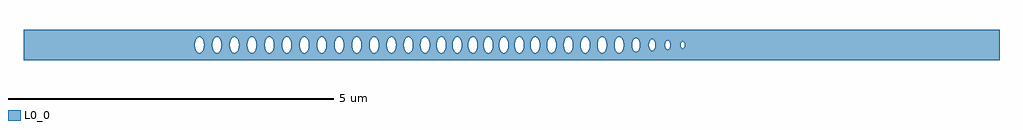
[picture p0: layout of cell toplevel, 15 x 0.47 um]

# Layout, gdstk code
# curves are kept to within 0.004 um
import gdstk
lib = gdstk.Library(unit=1e-6, precision=1e-09)
def P(c, l, *ps):  # polygons
    for p in ps: c.add(gdstk.Polygon(p, *l))
L0_0 = (0, 0)

toplevel = lib.new_cell('toplevel')
P(toplevel, L0_0, [(-4.313,-0.235),(-4.313,-0.079),(-4.329,-0.008),(-4.327,0.031),(-4.313,0.078),(-4.313,0.235),(-7.5,0.235),(-7.5,-0.008),(-4.866,-0.008),(-4.864,0.031),(-4.85,0.079),(-4.829,0.109),(-4.8,0.124),(-4.769,0.115),(-4.744,0.085),(-4.728,0.038),(-4.725,-0.016),(-4.597,-0.016),(-4.594,0.038),(-4.584,0.073),(-4.561,0.109),(-4.531,0.124),(-4.505,0.118),(-4.475,0.085),(-4.461,0.046),(-4.456,0),(-4.461,-0.046),(-4.475,-0.085),(-4.493,-0.109),(-4.522,-0.124),(-4.549,-0.118),(-4.572,-0.096),(-4.589,-0.06),(-4.597,-0.016),(-4.725,-0.016),(-4.738,-0.073),(-4.75,-0.096),(-4.774,-0.118),(-4.8,-0.124),(-4.829,-0.109),(-4.847,-0.085),(-4.861,-0.046),(-4.866,-0.008),(-7.5,-0.008),(-7.5,-0.235)],
  [(-3.791,0.016),(-3.783,0.06),(-3.763,0.1),(-3.735,0.122),(-3.708,0.122),(-3.708,0.235),(-4.313,0.235),(-4.313,0.079),(-4.296,0.105),(-4.272,0.122),(-4.245,0.122),(-4.224,0.109),(-4.197,0.06),(-4.188,-0.016),(-4.06,-0.016),(-4.057,0.038),(-4.047,0.073),(-4.024,0.109),(-3.994,0.124),(-3.968,0.118),(-3.938,0.085),(-3.924,0.046),(-3.919,0),(-3.924,-0.046),(-3.938,-0.085),(-3.956,-0.109),(-3.985,-0.124),(-4.012,-0.118),(-4.035,-0.096),(-4.052,-0.06),(-4.06,-0.016),(-4.188,-0.016),(-4.207,-0.085),(-4.224,-0.109),(-4.245,-0.122),(-4.263,-0.124),(-4.28,-0.118),(-4.313,-0.079),(-4.313,-0.235),(-3.708,-0.235),(-3.708,-0.122),(-3.726,-0.124),(-3.743,-0.118),(-3.77,-0.09),(-3.79,-0.031)],
  [(-3.254,0.023),(-3.233,0.09),(-3.218,0.109),(-3.189,0.124),(-3.171,0.122),(-3.15,0.109),(-3.127,0.073),(-3.119,0.046),(-3.119,0.235),(-3.708,0.235),(-3.708,0.122),(-3.687,0.109),(-3.664,0.073),(-3.654,0.038),(-3.651,-0.016),(-3.523,-0.016),(-3.52,0.038),(-3.51,0.073),(-3.487,0.109),(-3.457,0.124),(-3.431,0.118),(-3.408,0.096),(-3.391,0.06),(-3.382,0.008),(-3.387,-0.046),(-3.401,-0.085),(-3.419,-0.109),(-3.448,-0.124),(-3.475,-0.118),(-3.498,-0.096),(-3.515,-0.06),(-3.523,-0.016),(-3.651,-0.016),(-3.67,-0.085),(-3.687,-0.109),(-3.708,-0.122),(-3.708,-0.235),(-3.119,-0.235),(-3.119,-0.046),(-3.127,-0.073),(-3.15,-0.109),(-3.18,-0.124),(-3.206,-0.118),(-3.229,-0.096),(-3.244,-0.066),(-3.254,-0.023)],
  [(-3.116,-0.031),(-3.119,-0.235),(-2.441,-0.235),(-2.441,-0.06),(-2.449,-0.016),(-2.441,0.06),(-2.441,0.235),(-3.119,0.235),(-3.114,-0.016),(-2.986,-0.016),(-2.983,0.038),(-2.973,0.073),(-2.95,0.109),(-2.92,0.124),(-2.894,0.118),(-2.864,0.085),(-2.85,0.046),(-2.845,-0.008),(-2.718,-0.008),(-2.713,0.046),(-2.696,0.09),(-2.669,0.118),(-2.638,0.123),(-2.602,0.096),(-2.59,0.073),(-2.577,0.016),(-2.58,-0.038),(-2.59,-0.073),(-2.613,-0.109),(-2.634,-0.122),(-2.665,-0.12),(-2.692,-0.096),(-2.709,-0.06),(-2.718,-0.008),(-2.845,-0.008),(-2.85,-0.046),(-2.864,-0.085),(-2.882,-0.109),(-2.911,-0.124),(-2.938,-0.118),(-2.961,-0.096),(-2.978,-0.06),(-2.986,-0.016),(-3.114,-0.016)],
  [(-1.915,0.016),(-1.897,0.085),(-1.876,0.112),(-1.854,0.123),(-1.854,0.235),(-2.441,0.235),(-2.441,0.06),(-2.413,0.109),(-2.392,0.122),(-2.366,0.122),(-2.341,0.105),(-2.324,0.079),(-2.313,0.046),(-2.309,-0.016),(-2.181,-0.016),(-2.178,0.038),(-2.162,0.085),(-2.133,0.118),(-2.106,0.124),(-2.077,0.109),(-2.06,0.085),(-2.045,0.046),(-2.04,0),(-2.045,-0.046),(-2.06,-0.085),(-2.077,-0.109),(-2.106,-0.124),(-2.133,-0.118),(-2.156,-0.096),(-2.173,-0.06),(-2.181,-0.016),(-2.309,-0.016),(-2.327,-0.085),(-2.345,-0.109),(-2.374,-0.124),(-2.392,-0.122),(-2.413,-0.109),(-2.441,-0.06),(-2.441,-0.235),(-1.854,-0.235),(-1.854,-0.123),(-1.883,-0.105),(-1.903,-0.073),(-1.914,-0.031)],
  [(-1.854,0.235),(-1.854,0.123),(-1.824,0.118),(-1.797,0.09),(-1.78,0.046),(-1.775,-0.008),(-1.655,-0.008),(-1.653,0.031),(-1.639,0.079),(-1.618,0.109),(-1.589,0.124),(-1.563,0.118),(-1.539,0.096),(-1.519,0.046),(-1.514,0.008),(-1.517,-0.038),(-1.527,-0.073),(-1.55,-0.109),(-1.58,-0.124),(-1.606,-0.118),(-1.633,-0.09),(-1.65,-0.046),(-1.655,-0.008),(-1.775,-0.008),(-1.784,-0.06),(-1.801,-0.096),(-1.824,-0.118),(-1.854,-0.123),(-1.854,-0.235),(-1.272,-0.235),(-1.272,-0.073),(-1.287,-0.1),(-1.307,-0.118),(-1.324,-0.124),(-1.342,-0.122),(-1.363,-0.109),(-1.38,-0.085),(-1.399,-0.016),(-1.396,0.038),(-1.386,0.073),(-1.374,0.096),(-1.355,0.115),(-1.333,0.124),(-1.307,0.118),(-1.287,0.1),(-1.272,0.073),(-1.272,0.235)],
  [(-1.26,-0.031),(-1.272,-0.073),(-1.272,-0.235),(-0.662,-0.235),(-0.662,0.235),(-1.272,0.235),(-1.272,0.072),(-1.26,0.031),(-1.259,-0.016),(-1.149,-0.016),(-1.146,0.038),(-1.136,0.073),(-1.113,0.109),(-1.083,0.124),(-1.057,0.118),(-1.03,0.09),(-1.013,0.046),(-1.008,0),(-0.905,0),(-0.9,0.046),(-0.879,0.096),(-0.856,0.118),(-0.825,0.123),(-0.789,0.096),(-0.772,0.06),(-0.764,0.016),(-0.772,-0.06),(-0.789,-0.096),(-0.812,-0.118),(-0.843,-0.123),(-0.872,-0.105),(-0.896,-0.06),(-0.905,0),(-1.008,0),(-1.013,-0.046),(-1.027,-0.085),(-1.045,-0.109),(-1.074,-0.124),(-1.1,-0.118),(-1.124,-0.096),(-1.136,-0.073),(-1.149,-0.016),(-1.259,-0.016)],
  [(-0.661,0.038),(-0.639,0.096),(-0.615,0.118),(-0.589,0.124),(-0.56,0.109),(-0.539,0.079),(-0.525,0.031),(-0.524,-0.016),(-0.426,-0.016),(-0.423,0.038),(-0.407,0.085),(-0.378,0.118),(-0.351,0.124),(-0.322,0.109),(-0.304,0.085),(-0.29,0.046),(-0.285,0),(-0.29,-0.046),(-0.304,-0.085),(-0.322,-0.109),(-0.351,-0.124),(-0.378,-0.118),(-0.401,-0.096),(-0.418,-0.06),(-0.426,-0.016),(-0.524,-0.016),(-0.528,-0.046),(-0.545,-0.09),(-0.56,-0.109),(-0.589,-0.124),(-0.615,-0.118),(-0.639,-0.096),(-0.662,-0.031),(-0.662,-0.235),(-0.145,-0.235),(-0.145,-0.115),(-0.164,-0.096),(-0.176,-0.073),(-0.189,-0.016),(-0.186,0.038),(-0.176,0.073),(-0.164,0.096),(-0.145,0.115),(-0.145,0.235),(-0.662,0.235)],
  [(0.295,0.016),(0.31,0.079),(0.343,0.118),(0.36,0.124),(0.378,0.122),(0.41,0.096),(0.41,0.235),(-0.145,0.235),(-0.145,0.115),(-0.123,0.124),(-0.105,0.122),(-0.074,0.096),(-0.053,0.046),(-0.049,-0.016),(0.05,-0.016),(0.053,0.038),(0.063,0.073),(0.086,0.109),(0.116,0.124),(0.142,0.118),(0.169,0.09),(0.186,0.046),(0.191,0.008),(0.189,-0.031),(0.175,-0.079),(0.154,-0.109),(0.125,-0.124),(0.099,-0.118),(0.075,-0.096),(0.063,-0.073),(0.05,-0.016),(-0.049,-0.016),(-0.059,-0.066),(-0.081,-0.105),(-0.114,-0.124),(-0.145,-0.115),(-0.145,-0.235),(0.41,-0.235),(0.41,-0.096),(0.391,-0.115),(0.369,-0.124),(0.352,-0.122),(0.331,-0.109),(0.303,-0.06)],
  [(0.434,-0.023),(0.422,-0.073),(0.41,-0.096),(0.41,-0.235),(1.063,-0.235),(1.063,0.235),(0.41,0.235),(0.41,0.096),(0.432,0.038),(0.435,-0.008),(0.546,-0.008),(0.551,0.046),(0.565,0.085),(0.595,0.118),(0.621,0.124),(0.651,0.109),(0.674,0.073),(0.684,0.038),(0.687,-0.016),(0.804,-0.016),(0.81,0.053),(0.829,0.096),(0.861,0.122),(0.896,0.118),(0.919,0.096),(0.934,0.066),(0.945,0),(0.931,-0.073),(0.912,-0.105),(0.892,-0.12),(0.861,-0.122),(0.836,-0.105),(0.812,-0.06),(0.804,-0.016),(0.687,-0.016),(0.674,-0.073),(0.662,-0.096),(0.643,-0.115),(0.621,-0.124),(0.595,-0.118),(0.568,-0.09),(0.551,-0.046),(0.546,-0.008),(0.435,-0.008)],
  [(1.585,0.023),(1.592,0.06),(1.609,0.096),(1.609,0.235),(1.063,0.235),(1.063,0.016),(1.071,0.06),(1.088,0.096),(1.111,0.118),(1.138,0.124),(1.167,0.109),(1.185,0.085),(1.199,0.046),(1.203,-0.016),(1.322,-0.016),(1.325,0.038),(1.341,0.085),(1.366,0.115),(1.397,0.124),(1.426,0.109),(1.444,0.085),(1.458,0.046),(1.463,0.008),(1.461,-0.031),(1.447,-0.079),(1.426,-0.109),(1.397,-0.124),(1.371,-0.118),(1.347,-0.096),(1.331,-0.061),(1.322,-0.016),(1.203,-0.016),(1.195,-0.06),(1.175,-0.1),(1.151,-0.12),(1.12,-0.122),(1.099,-0.109),(1.082,-0.085),(1.069,-0.053),(1.063,-0.016),(1.063,-0.235),(1.609,-0.235),(1.609,-0.096),(1.59,-0.053)],
  [(1.616,0.105),(1.65,0.124),(1.672,0.12),(1.692,0.105),(1.72,0.046),(1.724,-0.013),(1.853,-0.013),(1.857,0.039),(1.872,0.078),(1.898,0.103),(1.925,0.105),(1.946,0.09),(1.965,0.057),(1.974,-0.013),(1.955,-0.078),(1.936,-0.099),(1.913,-0.107),(1.891,-0.099),(1.872,-0.078),(1.853,-0.013),(1.724,-0.013),(1.711,-0.073),(1.699,-0.096),(1.676,-0.118),(1.641,-0.122),(1.609,-0.096),(1.609,-0.235),(2.194,-0.235),(2.194,-0.069),(2.172,-0.088),(2.146,-0.085),(2.127,-0.065),(2.112,-0.017),(2.116,0.038),(2.132,0.072),(2.146,0.085),(2.165,0.089),(2.184,0.081),(2.194,0.069),(2.194,0.235),(1.609,0.235),(1.609,0.096)],
  [(2.212,-0.011),(2.208,-0.039),(2.194,-0.069),(2.194,-0.235),(7.5,-0.235),(7.5,0.235),(2.194,0.235),(2.194,0.069),(2.208,0.038),(2.213,-0.005),(2.359,-0.005),(2.37,0.049),(2.38,0.063),(2.397,0.072),(2.415,0.067),(2.43,0.049),(2.439,0.022),(2.44,-0.007),(2.6,-0.007),(2.607,0.035),(2.627,0.054),(2.64,0.052),(2.652,0.04),(2.662,0.003),(2.655,-0.035),(2.635,-0.054),(2.623,-0.053),(2.611,-0.042),(2.6,-0.007),(2.44,-0.007),(2.43,-0.049),(2.42,-0.063),(2.403,-0.072),(2.385,-0.067),(2.37,-0.049),(2.359,-0.005),(2.213,-0.005)])

lib.write_gds('toplevel.gds')
